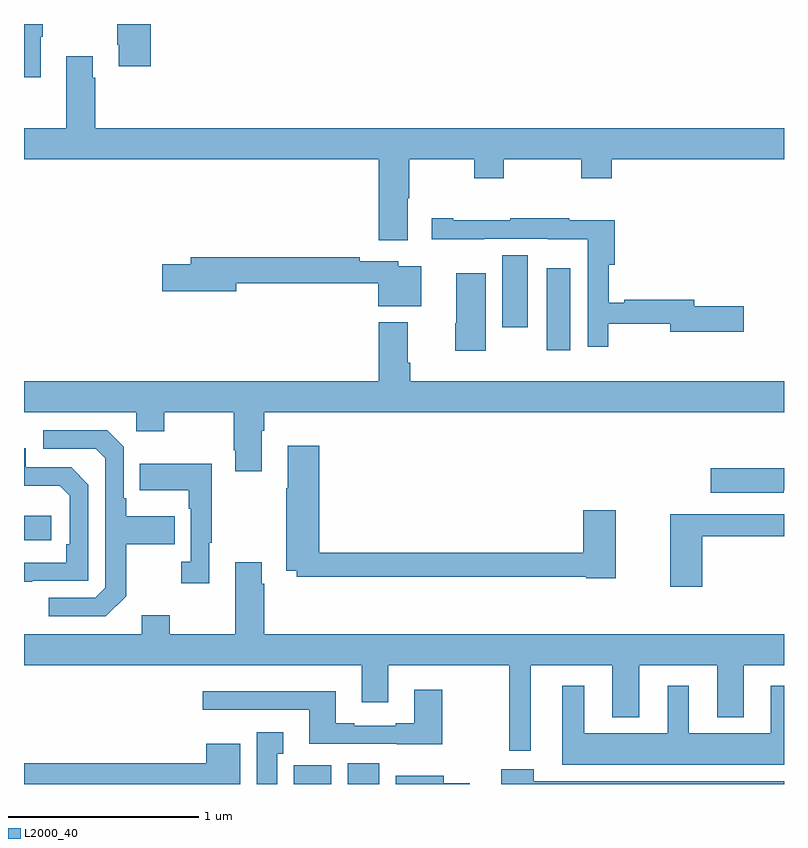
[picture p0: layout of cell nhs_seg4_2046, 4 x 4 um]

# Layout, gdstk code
import gdstk
lib = gdstk.Library(unit=1e-6, precision=1e-09)
def R(c, l, rs):  # rectangles x0, y0, x1, y1
    for r in rs: c.add(gdstk.rectangle(r[:2], r[2:], *l))
def P(c, l, *ps):  # polygons
    for p in ps: c.add(gdstk.Polygon(p, *l))
L2000_40 = (2000, 40)

nhs_seg4_2046 = lib.new_cell('nhs_seg4_2046')
R(nhs_seg4_2046, L2000_40, [(218.421,758.9,218.617,759), (218.705,758.9,218.869,759.01), (217,760.182,217.144,760.312), (219.752,761.184,219.874,761.614), (219.518,761.304,219.652,761.684)])
P(nhs_seg4_2046, L2000_40, [(217.087,762.833),(217.099,762.833),(217.099,762.9),(217,762.9),(217,762.621),(217.087,762.621)],
  [(217.667,762.9),(217.492,762.9),(217.492,762.79),(217.499,762.79),(217.499,762.678),(217.667,762.678)],
  [(219.019,761.984),(219.027,761.984),(219.027,762.188),(219.37,762.188),(219.37,762.089),(219.525,762.089),(219.525,762.188),(219.934,762.188),(219.934,762.089),(220.094,762.089),(220.094,762.188),(221,762.188),(221,762.352),(217.376,762.352),(217.376,762.617),(217.363,762.617),(217.363,762.73),(217.223,762.73),(217.223,762.352),(217,762.352),(217,762.188),(218.867,762.188),(218.867,761.763),(219.019,761.763)],
  [(220.075,761.322),(220.4,761.322),(220.4,761.279),(220.789,761.279),(220.789,761.414),(220.528,761.414),(220.528,761.45),(220.159,761.45),(220.159,761.432),(220.078,761.432),(220.078,761.633),(220.109,761.633),(220.109,761.868),(219.869,761.868),(219.869,761.878),(219.559,761.878),(219.559,761.868),(219.259,761.868),(219.259,761.878),(219.147,761.878),(219.147,761.768),(219.422,761.768),(219.422,761.769),(219.756,761.769),(219.756,761.768),(219.966,761.768),(219.966,761.202),(220.075,761.202)],
  [(219.091,761.626),(218.97,761.626),(218.97,761.652),(218.768,761.652),(218.768,761.672),(217.877,761.672),(217.877,761.636),(217.728,761.636),(217.728,761.494),(218.116,761.494),(218.116,761.536),(218.864,761.536),(218.864,761.414),(219.091,761.414)],
  [(219.43,761.587),(219.275,761.587),(219.275,761.325),(219.269,761.325),(219.269,761.181),(219.43,761.181)],
  [(218.251,760.76),(218.264,760.76),(218.264,760.856),(221,760.856),(221,761.02),(219.032,761.02),(219.032,761.116),(219.019,761.116),(219.019,761.329),(218.867,761.329),(218.867,761.02),(217,761.02),(217,760.856),(217.59,760.856),(217.59,760.757),(217.737,760.757),(217.737,760.856),(218.104,760.856),(218.104,760.657),(218.111,760.657),(218.111,760.545),(218.251,760.545)],
  [(217.537,759.889),(217.537,760.162),(217.793,760.162),(217.793,760.309),(217.537,760.309),(217.537,760.405),(217.524,760.405),(217.524,760.674),(217.437,760.761),(217.101,760.761),(217.101,760.665),(217.377,760.665),(217.428,760.614),(217.428,759.933),(217.374,759.879),(217.131,759.879),(217.131,759.783),(217.431,759.783)],
  [(220.114,760.342),(219.944,760.342),(219.944,760.118),(218.555,760.118),(218.555,760.681),(218.387,760.681),(218.387,760.457),(218.38,760.457),(218.38,760.022),(218.436,760.022),(218.436,759.99),(219.96,759.99),(219.96,759.982),(220.114,759.982)],
  [(217.043,759.969),(217.338,759.969),(217.338,760.476),(217.248,760.566),(217.008,760.566),(217.008,760.668),(217,760.668),(217,760.469),(217.189,760.469),(217.242,760.416),(217.242,760.162),(217.222,760.162),(217.222,760.065),(217,760.065),(217,759.964),(217.043,759.964)],
  [(217.975,760.169),(217.987,760.169),(217.987,760.585),(217.609,760.585),(217.609,760.445),(217.866,760.445),(217.866,760.349),(217.878,760.349),(217.878,760.07),(217.827,760.07),(217.827,759.957),(217.975,759.957)],
  [(220.998,760.446),(221,760.446),(221,760.563),(220.614,760.563),(220.614,760.433),(220.998,760.433)],
  [(220.571,760.204),(221,760.204),(221,760.32),(220.4,760.32),(220.4,759.939),(220.571,759.939)],
  [(218.264,759.953),(218.251,759.953),(218.251,760.066),(218.111,760.066),(218.111,759.688),(217.767,759.688),(217.767,759.787),(217.619,759.787),(217.619,759.688),(217,759.688),(217,759.524),(218.777,759.524),(218.777,759.33),(218.917,759.33),(218.917,759.524),(219.553,759.524),(219.553,759.075),(219.667,759.075),(219.667,759.524),(220.097,759.524),(220.097,759.251),(220.237,759.251),(220.237,759.524),(220.649,759.524),(220.649,759.251),(220.789,759.251),(220.789,759.524),(221,759.524),(221,759.688),(218.264,759.688)],
  [(221,759.418),(220.931,759.418),(220.931,759.166),(220.498,759.166),(220.498,759.418),(220.388,759.418),(220.388,759.166),(219.949,759.166),(219.949,759.418),(219.833,759.418),(219.833,759.002),(221,759.002)],
  [(219.201,759.397),(219.053,759.397),(219.053,759.22),(218.957,759.22),(218.957,759.207),(218.737,759.207),(218.737,759.22),(218.641,759.22),(218.641,759.388),(217.941,759.388),(217.941,759.291),(218.501,759.291),(218.501,759.111),(218.961,759.111),(218.961,759.11),(219.201,759.11)],
  [(218.332,759.059),(218.365,759.059),(218.365,759.172),(218.225,759.172),(218.225,758.9),(218.332,758.9)],
  [(218.137,759.112),(217.958,759.112),(217.958,759.008),(217,759.008),(217,758.9),(218.137,758.9)],
  [(221,758.914),(219.683,758.914),(219.683,758.977),(219.512,758.977),(219.512,758.9),(221,758.9)],
  [(219.346,758.905),(219.208,758.905),(219.208,758.944),(218.957,758.944),(218.957,758.9),(219.346,758.9)])

lib.write_gds('nhs_seg4_2046.gds')
